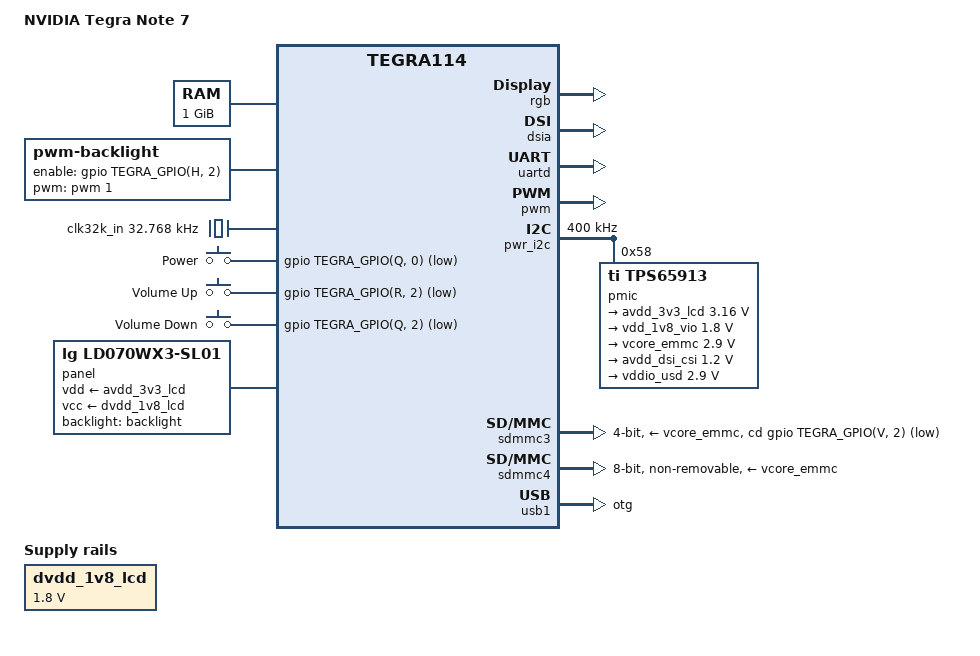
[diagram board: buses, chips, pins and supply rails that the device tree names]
// SPDX-License-Identifier: GPL-2.0
/dts-v1/;

#include <dt-bindings/input/input.h>
#include "tegra114.dtsi"

/ {
	model = "NVIDIA Tegra Note 7";
	compatible = "nvidia,tegratab", "nvidia,tegra114";

	chosen {
		stdout-path = &uartd;
	};

	aliases {
		i2c0 = &pwr_i2c;

		mmc0 = &sdmmc4; /* eMMC */
		mmc1 = &sdmmc3; /* uSD slot */

		usb0 = &usb1;
	};

	memory {
		device_type = "memory";
		reg = <0x80000000 0x40000000>;
	};

	host1x@50000000 {
		dc@54200000 {
			clocks = <&tegra_car TEGRA114_CLK_DISP1>,
				 <&tegra_car TEGRA114_CLK_PLL_D_OUT0>;

			nvidia,180-rotation;

			rgb {
				status = "okay";

				nvidia,panel = <&dsia>;
			};
		};

		dsia: dsi@54300000 {
			clocks = <&tegra_car TEGRA114_CLK_DSIA>;
			status = "okay";

			avdd-dsi-csi-supply = <&avdd_dsi_csi>;

			panel = <&panel>;
		};
	};

	uartd: serial@70006300 {
		status = "okay";
	};

	pwm: pwm@7000a000 {
		status = "okay";
	};

	pwr_i2c: i2c@7000d000 {
		status = "okay";
		clock-frequency = <400000>;

		/* Texas Instruments TPS65913 PMIC */
		pmic: tps65913@58 {
			compatible = "ti,tps65913";
			reg = <0x58>;

			interrupts = <GIC_SPI 86 IRQ_TYPE_LEVEL_HIGH>;
			#interrupt-cells = <2>;
			interrupt-controller;

			ti,system-power-controller;

			palmas_gpio: gpio {
				compatible = "ti,palmas-gpio";
				gpio-controller;
				#gpio-cells = <2>;
			};

			pmic {
				compatible = "ti,tps65913-pmic";

				regulators {
					avdd_3v3_lcd: smps6 {
						regulator-name = "vdd_lcd_hv";
						regulator-min-microvolt = <3160000>;
						regulator-max-microvolt = <3160000>;
					};

					vdd_1v8_vio: smps8 {
						regulator-name = "vdd_1v8_gen";
						regulator-min-microvolt = <1800000>;
						regulator-max-microvolt = <1800000>;
						regulator-always-on;
						regulator-boot-on;
					};

					vcore_emmc: smps9 {
						regulator-name = "vdd_sdmmc";
						regulator-min-microvolt = <2900000>;
						regulator-max-microvolt = <2900000>;
						regulator-always-on;
						regulator-boot-on;
					};

					avdd_dsi_csi: ldo2 {
						regulator-name = "avdd_dsi_csi";
						regulator-min-microvolt = <1200000>;
						regulator-max-microvolt = <1200000>;
					};

					vddio_usd: ldo9 {
						regulator-name = "vddio_sdmmc";
						regulator-min-microvolt = <2900000>;
						regulator-max-microvolt = <2900000>;
						regulator-always-on;
						regulator-boot-on;
					};
				};
			};
		};
	};

	sdmmc3: sdhci@78000400 {
		status = "okay";
		bus-width = <4>;

		cd-gpios = <&gpio TEGRA_GPIO(V, 2) GPIO_ACTIVE_LOW>;
		power-gpios = <&gpio TEGRA_GPIO(K, 1) GPIO_ACTIVE_HIGH>;

		nvidia,default-tap = <0x3>;
		nvidia,default-trim = <0x3>;

		vmmc-supply = <&vcore_emmc>;
		vqmmc-supply = <&vddio_usd>;
	};

	sdmmc4: sdhci@78000600 {
		status = "okay";
		bus-width = <8>;
		non-removable;

		vmmc-supply = <&vcore_emmc>;
		vqmmc-supply = <&vdd_1v8_vio>;
	};

	usb1: usb@7d000000 {
		status = "okay";
		dr_mode = "otg";
	};

	backlight: backlight {
		compatible = "pwm-backlight";

		enable-gpios = <&gpio TEGRA_GPIO(H, 2) GPIO_ACTIVE_HIGH>;
		pwms = <&pwm 1 1000000>;

		brightness-levels = <1 35 70 105 140 175 210 255>;
		default-brightness-level = <5>;
	};

	clk32k_in: clock-32k {
		compatible = "fixed-clock";
		#clock-cells = <0>;
		clock-frequency = <32768>;
		clock-output-names = "ref-oscillator";
	};

	gpio-keys {
		compatible = "gpio-keys";

		key-power {
			label = "Power";
			gpios = <&gpio TEGRA_GPIO(Q, 0) GPIO_ACTIVE_LOW>;
			linux,code = <KEY_ENTER>;
		};

		key-volume-up {
			label = "Volume Up";
			gpios = <&gpio TEGRA_GPIO(R, 2) GPIO_ACTIVE_LOW>;
			linux,code = <KEY_UP>;
		};

		key-volume-down {
			label = "Volume Down";
			gpios = <&gpio TEGRA_GPIO(Q, 2) GPIO_ACTIVE_LOW>;
			linux,code = <KEY_DOWN>;
		};
	};

	panel: panel {
		compatible = "lg,ld070wx3-sl01";

		vdd-supply = <&avdd_3v3_lcd>;
		vcc-supply = <&dvdd_1v8_lcd>;

		backlight = <&backlight>;
	};

	dvdd_1v8_lcd: regulator-lcdvio {
		compatible = "regulator-fixed";
		regulator-name = "dvdd_lcd";
		regulator-min-microvolt = <1800000>;
		regulator-max-microvolt = <1800000>;
//		gpio = <&palmas_gpio 4 GPIO_ACTIVE_HIGH>;
//		enable-active-high;
	};
};
